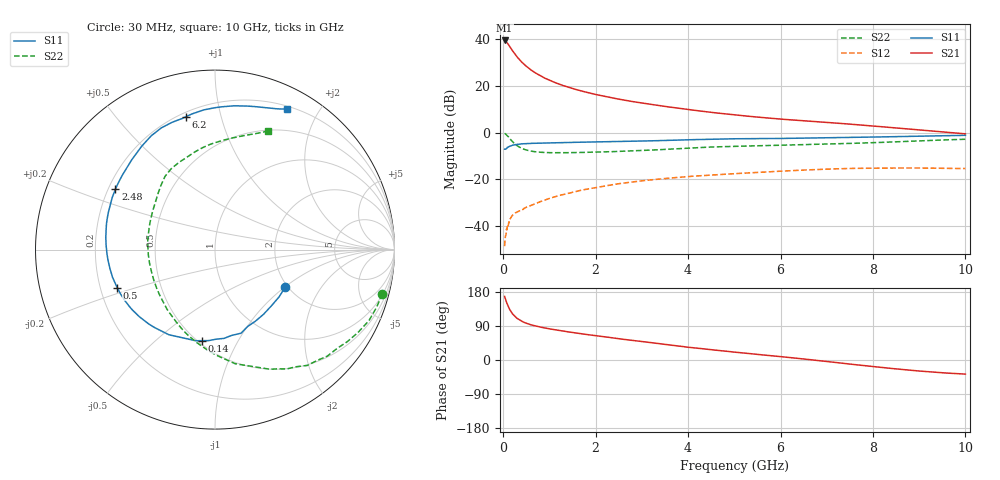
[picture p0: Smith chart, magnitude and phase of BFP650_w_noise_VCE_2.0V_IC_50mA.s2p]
! Infineon Technologies  Discrete & RF Semiconductors
! BFP650
! VCE =  2.0 V,  IC =  50 mA
! Common Emitter S-Parameters:  Jan 2016
# GHz  S  MA  R  50
!  f  S11  S21  S12  S22
! GHz  MAG  ANG  MAG  ANG  MAG  ANG  MAG  ANG
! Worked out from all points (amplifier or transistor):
!   229 points, 30 MHz to 10 GHz, reference 50 ohm
!   highest |S21| = 39.5 dB at 30 MHz (marker M1)
!   |S21| within 3 dB of that: start of sweep to 153.4 MHz
!   unconditionally stable (mu >= 1): 1.811 GHz to end of sweep
!   at 280 MHz: K = 0.46, MSG = 33.6 dB, |S12| = -34.2 dB
!   at 1.78 GHz: K = 1.00, MSG = 20.9 dB, |S12| = -24.3 dB
!   at 10 GHz: K = 1.03, MAG = 6.4 dB, |S12| = -15.4 dB
!   lowest NFmin = 0.97 dB at 450 MHz
!   S11 on the Smith chart (normalised r, x): 30 MHz: 1.95, -1.01; 140 MHz: 0.52, -0.72; 500 MHz: 0.27, -0.17; 2.48 GHz: 0.23, +0.27; 6.2 GHz: 0.22, +0.78; 10 GHz: 0.23, +1.61
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0.03  0.4441 -27.9  94.89 167.8  0.0037 57.4  0.9644 -14.8
0.04  0.4437 -36.6  94.19 163.8  0.0051 71.7  0.9557 -19.8
0.05  0.4437 -44.9  91.7 159.8  0.0062 76.7  0.9446 -24.8
0.06  0.4507 -53.1  90.64 156.5  0.0065 66.3  0.9208 -30.1
0.08  0.4649 -66.8  85.81 149.6  0.0083 61.6  0.876 -38.8
0.11  0.4971 -84.1  78.18 140.7  0.0102 66.8  0.8249 -51.5
0.14  0.5123 -98.2  70.4 133.4  0.0138 58.0  0.7522 -62.0
0.2  0.5394 -118.4  57.32 121.9  0.017 54.0  0.6457 -80.0
0.28  0.5584 -135.2  44.77 112.1  0.0195 50.3  0.5452 -97.3
0.38  0.5743 -148.4  34.32 103.7  0.0213 51.2  0.4737 -113.8
0.5  0.5848 -158.8  26.5 96.8  0.0253 52.1  0.4266 -128.8
0.7  0.5949 -169.8  19.02 89.5  0.0304 53.3  0.3902 -146.2
0.9  0.6019 -177.3  14.78 84.5  0.0359 53.6  0.3763 -158.7
1.22  0.6122 173.7  10.9 77.7  0.0453 54.2  0.3721 -172.6
1.7  0.6261 163.0  7.799 69.2  0.0589 51.4  0.3779 172.5
2.48  0.6484 148.8  5.287 56.6  0.0802 45.0  0.3962 154.7
3.4  0.6777 134.3  3.783 42.7  0.1022 35.6  0.4338 138.6
5.1  0.7421 112.8  2.358 19.7  0.1341 18.9  0.5139 117.5
6.2  0.7576 102.4  1.894 6.5  0.1531 8.3  0.5455 104.5
6.8  0.7743 96.7  1.72 -1.2  0.1629 2.0  0.5651 98.8
8.4  0.8199 77.2  1.289 -22.3  0.1751 -15.6  0.6317 80.6
10  0.8797 62.9  0.946 -37.2  0.1705 -28.2  0.7238 66.0
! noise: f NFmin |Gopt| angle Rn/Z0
0.45  0.97  0.2  -177  0.49
0.9  0.99  0.42  -167  0.06
1.9  1.12  0.45  -153  0.06
2.4  1.2  0.43  -143  0.08
3.5  1.43  0.46  -120  0.13
